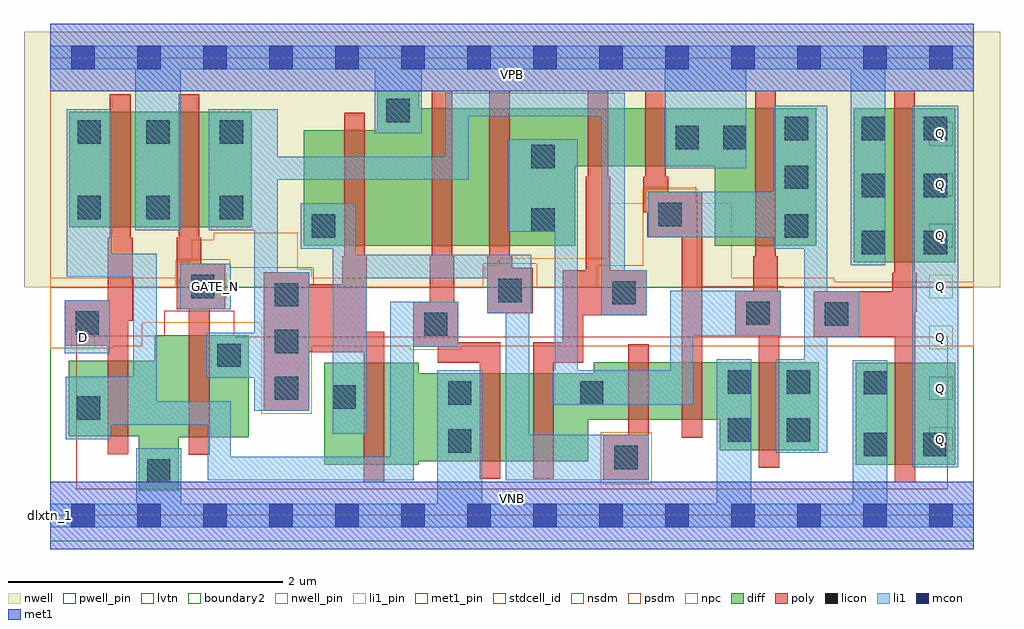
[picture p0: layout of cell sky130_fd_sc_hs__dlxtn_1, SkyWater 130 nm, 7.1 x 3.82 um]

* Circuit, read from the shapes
.subckt sky130_fd_sc_hs__dlxtn_1 D GATE_N Q VGND VNB VPB VPWR
XM1 VGND D n1 VNB sky130_fd_pr__nfet_01v8_lvt w=0.55 l=0.15
XM2 n2 GATE_N VGND VNB sky130_fd_pr__nfet_01v8_lvt w=0.74 l=0.15
XM3 VGND n2 n3 VNB sky130_fd_pr__nfet_01v8_lvt w=0.74 l=0.15
XM4 n4 n1 VGND VNB sky130_fd_pr__nfet_01v8_lvt w=0.64 l=0.15
XM5 n5 n2 n4 VNB sky130_fd_pr__nfet_01v8_lvt w=0.64 l=0.15
XM6 n6 n3 n5 VNB sky130_fd_pr__nfet_01v8_lvt w=0.42 l=0.15
XM7 VGND n7 n6 VNB sky130_fd_pr__nfet_01v8_lvt w=0.42 l=0.15
XM8 n7 n5 VGND VNB sky130_fd_pr__nfet_01v8_lvt w=0.64 l=0.15
XM9 Q n7 VGND VNB sky130_fd_pr__nfet_01v8_lvt w=0.74 l=0.15
XM10 VPWR D n1 VPB sky130_fd_pr__pfet_01v8 w=0.84 l=0.15
XM11 n2 GATE_N VPWR VPB sky130_fd_pr__pfet_01v8 w=0.84 l=0.15
XM12 VPWR n2 n3 VPB sky130_fd_pr__pfet_01v8 w=0.84 l=0.15
XM13 n8 n1 VPWR VPB sky130_fd_pr__pfet_01v8 w=1 l=0.15
XM14 n5 n3 n8 VPB sky130_fd_pr__pfet_01v8 w=1 l=0.15
XM15 n9 n2 n5 VPB sky130_fd_pr__pfet_01v8 w=0.42 l=0.15
XM16 VPWR n7 n9 VPB sky130_fd_pr__pfet_01v8 w=0.42 l=0.15
XM17 n7 n5 VPWR VPB sky130_fd_pr__pfet_01v8 w=1 l=0.15
XM18 Q n7 VPWR VPB sky130_fd_pr__pfet_01v8 w=1.12 l=0.15
.ends

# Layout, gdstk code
import gdstk
lib = gdstk.Library(unit=1e-6, precision=1e-09)
def R(c, l, rs):  # rectangles x0, y0, x1, y1
    for r in rs: c.add(gdstk.rectangle(r[:2], r[2:], *l))
def A(c, l, x, y, w, h, nx, ny, dx, dy):  # array of equal rectangles
    R(c, l, [(x+i*dx, y+j*dy, x+i*dx+w, y+j*dy+h) for i in range(nx) for j in range(ny)])
def P(c, l, *ps):  # polygons
    for p in ps: c.add(gdstk.Polygon(p, *l))
nwell_pin = (64, 16)
nwell = (64, 20)
diff = (65, 20)
poly = (66, 20)
licon = (66, 44)
li1_pin = (67, 16)
li1 = (67, 20)
mcon = (67, 44)
met1_pin = (68, 16)
met1 = (68, 20)
stdcell_id = (81, 4)
nsdm = (93, 44)
psdm = (94, 20)
npc = (95, 20)
pwell_pin = (122, 16)
lvtn = (125, 44)
boundary2 = (236, 0)

sky130_fd_sc_hs__dlxtn_1 = lib.new_cell('sky130_fd_sc_hs__dlxtn_1')
R(sky130_fd_sc_hs__dlxtn_1, nwell_pin, [(0,3.085,6.72,3.33)])
R(sky130_fd_sc_hs__dlxtn_1, nwell, [(-0.19,1.66,6.91,3.52)])
R(sky130_fd_sc_hs__dlxtn_1, diff, [(5.86,0.37,6.585,1.11), (5.845,1.84,6.585,2.96), (0.14,2.095,1.465,2.935)])
P(sky130_fd_sc_hs__dlxtn_1, diff, [(1.445,1.31),(0.76,1.31),(0.76,1.125),(0.135,1.125),(0.135,0.575),(0.645,0.575),(0.645,0.18),(0.935,0.18),(0.935,0.57),(1.445,0.57)],
  [(5.575,2.96),(2.685,2.96),(2.685,3.09),(2.38,3.09),(2.38,2.8),(1.845,2.8),(1.845,1.96),(3.82,1.96),(3.82,2.54),(4.835,2.54),(4.835,1.96),(5.575,1.96)],
  [(5.59,1.115),(3.955,1.115),(3.955,1.035),(2.68,1.035),(2.68,1.11),(1.995,1.11),(1.995,0.37),(2.68,0.37),(2.68,0.395),(3.915,0.395),(3.915,0.695),(4.87,0.695),(4.87,0.475),(5.59,0.475)])
P(sky130_fd_sc_hs__dlxtn_1, poly, [(6.305,1.765),(6.29,1.765),(6.29,3.09),(6.14,3.09),(6.14,1.765),(6.125,1.765),(6.125,1.63),(5.555,1.63),(5.555,1.3),(6.145,1.3),(6.145,0.24),(6.295,0.24),(6.295,1.48),(6.305,1.48)],
  [(5.315,1.635),(5.295,1.635),(5.295,1.885),(5.28,1.885),(5.28,3.09),(5.13,3.09),(5.13,1.885),(5.115,1.885),(5.115,1.635),(4.985,1.635),(4.985,1.305),(5.155,1.305),(5.155,0.345),(5.305,0.345),(5.305,1.305),(5.315,1.305)],
  [(4.745,2.355),(4.495,2.355),(4.495,2.465),(4.48,2.465),(4.48,3.09),(4.33,3.09),(4.33,2.465),(4.315,2.465),(4.315,2.205),(4.345,2.205),(4.345,2.025),(4.595,2.025),(4.595,0.565),(4.745,0.565)],
  [(4.355,1.245),(4.205,1.245),(4.205,0.585),(4.025,0.585),(4.025,0.255),(4.355,0.255)],
  [(4.34,1.785),(4.075,1.785),(4.075,2.465),(4.06,2.465),(4.06,3.09),(3.91,3.09),(3.91,2.465),(3.895,2.465),(3.895,1.785),(3.73,1.785),(3.73,1.26),(3.515,1.26),(3.515,0.265),(3.665,0.265),(3.665,1.11),(3.88,1.11),(3.88,1.455),(4.34,1.455)],
  [(3.51,1.8),(3.36,1.8),(3.36,1.885),(3.345,1.885),(3.345,3.09),(3.195,3.09),(3.195,1.885),(3.18,1.885),(3.18,1.47),(3.51,1.47)],
  [(3.275,1.26),(2.97,1.26),(2.97,1.555),(2.94,1.555),(2.94,1.885),(2.925,1.885),(2.925,3.09),(2.775,3.09),(2.775,1.885),(2.76,1.885),(2.76,1.555),(2.64,1.555),(2.64,1.225),(2.82,1.225),(2.82,1.11),(3.125,1.11),(3.125,0.265),(3.275,0.265)],
  [(2.43,1.335),(2.305,1.335),(2.305,1.885),(2.29,1.885),(2.29,2.93),(2.14,2.93),(2.14,1.885),(2.125,1.885),(2.125,1.68),(1.885,1.68),(1.885,1.77),(1.555,1.77),(1.555,0.76),(1.885,0.76),(1.885,1.185),(2.28,1.185),(2.28,0.24),(2.43,0.24)],
  [(1.275,1.83),(1.1,1.83),(1.1,2.02),(1.085,2.02),(1.085,3.065),(0.935,3.065),(0.935,2.02),(0.92,2.02),(0.92,1.5),(1.01,1.5),(1.01,0.44),(1.16,0.44),(1.16,1.5),(1.275,1.5)],
  [(0.6,2.02),(0.585,2.02),(0.585,3.065),(0.435,3.065),(0.435,2.02),(0.42,2.02),(0.42,1.565),(0.105,1.565),(0.105,1.235),(0.42,1.235),(0.42,0.445),(0.57,0.445),(0.57,1.415),(0.6,1.415)])
A(sky130_fd_sc_hs__dlxtn_1, licon, 1.635, 0.84, 0.17, 0.17, 1, 3, 0, 0.34)
A(sky130_fd_sc_hs__dlxtn_1, licon, 5.905, 1.9, 0.17, 0.17, 1, 3, 0, 0.415)
A(sky130_fd_sc_hs__dlxtn_1, licon, 6.355, 1.9, 0.17, 0.17, 1, 3, 0, 0.415)
A(sky130_fd_sc_hs__dlxtn_1, licon, 5.345, 2.02, 0.17, 0.17, 1, 3, 0, 0.355)
R(sky130_fd_sc_hs__dlxtn_1, licon, [(0.705,0.24,0.875,0.41), (4.105,0.335,4.275,0.505), (5.92,0.43,6.09,0.6), (6.35,0.43,6.52,0.6), (2.895,0.455,3.065,0.625), (4.93,0.535,5.1,0.705), (5.36,0.535,5.53,0.705), (0.195,0.695,0.365,0.865), (2.055,0.775,2.225,0.945), (2.895,0.805,3.065,0.975), (3.855,0.805,4.025,0.975), (5.92,0.88,6.09,1.05), (4.93,0.885,5.1,1.055), (5.36,0.885,5.53,1.055), (1.215,1.08,1.385,1.25), (2.72,1.305,2.89,1.475), (0.185,1.315,0.355,1.485), (5.635,1.38,5.805,1.55), (5.065,1.385,5.235,1.555), (4.09,1.535,4.26,1.705), (3.26,1.55,3.43,1.72), (1.025,1.58,1.195,1.75), (1.905,2.02,2.075,2.19), (3.5,2.065,3.67,2.235), (4.425,2.105,4.595,2.275), (0.2,2.155,0.37,2.325), (0.7,2.155,0.87,2.325), (1.235,2.155,1.405,2.325), (3.5,2.525,3.67,2.695), (4.55,2.665,4.72,2.835), (4.895,2.665,5.065,2.835), (0.2,2.705,0.37,2.875), (0.7,2.705,0.87,2.875), (1.235,2.705,1.405,2.875), (2.445,2.86,2.615,3.03)])
A(sky130_fd_sc_hs__dlxtn_1, li1_pin, 6.395, 0.47, 0.17, 0.17, 1, 7, 0, 0.37)
R(sky130_fd_sc_hs__dlxtn_1, li1_pin, [(0.155,1.21,0.325,1.38), (1.115,1.58,1.285,1.75)])
R(sky130_fd_sc_hs__dlxtn_1, li1, [(6.27,0.35,6.605,2.98), (0.105,1.18,0.435,1.565), (0.945,1.5,1.315,1.83)])
P(sky130_fd_sc_hs__dlxtn_1, li1, [(0,-0.085),(0,0.085),(0.625,0.085),(0.625,0.49),(0.955,0.49),(0.955,0.085),(2.815,0.085),(2.815,1.055),(3.145,1.055),(3.145,0.085),(4.85,0.085),(4.85,1.135),(5.1,1.135),(5.1,0.085),(5.84,0.085),(5.84,1.13),(6.09,1.13),(6.09,0.085),(6.72,0.085),(6.72,-0.085)],
  [(0,3.245),(0,3.415),(6.72,3.415),(6.72,3.245),(6.075,3.245),(6.075,1.82),(5.825,1.82),(5.825,3.245),(5.065,3.245),(5.065,2.525),(4.47,2.525),(4.47,3.245),(2.705,3.245),(2.705,2.78),(2.36,2.78),(2.36,3.245),(0.95,3.245),(0.95,2.075),(0.62,2.075),(0.62,3.245)],
  [(0.605,1.01),(0.605,1.735),(0.12,1.735),(0.12,2.955),(0.45,2.955),(0.45,1.905),(0.775,1.905),(0.775,0.83),(1.315,0.83),(1.315,0.425),(2.475,0.425),(2.475,1.555),(2.97,1.555),(2.97,1.225),(2.645,1.225),(2.645,0.255),(1.145,0.255),(1.145,0.66),(0.445,0.66),(0.445,0.555),(0.115,0.555),(0.115,1.01)],
  [(2.225,1.895),(3.5,1.895),(3.5,1.47),(3.485,1.47),(3.485,0.585),(4.355,0.585),(4.355,0.255),(3.315,0.255),(3.315,1.47),(3.18,1.47),(3.18,1.725),(2.305,1.725),(2.305,0.595),(2.055,0.595),(2.055,1.94),(1.825,1.94),(1.825,2.27),(2.225,2.27)],
  [(4.18,3.075),(4.18,1.785),(4.34,1.785),(4.34,1.455),(4.01,1.455),(4.01,2.905),(3.045,2.905),(3.045,2.44),(1.655,2.44),(1.655,1.77),(1.885,1.77),(1.885,0.76),(1.485,0.76),(1.485,1),(1.135,1),(1.135,1.33),(1.485,1.33),(1.485,2.075),(1.155,2.075),(1.155,2.955),(1.655,2.955),(1.655,2.61),(2.875,2.61),(2.875,3.075)],
  [(4.35,2.025),(4.35,2.355),(5.265,2.355),(5.265,2.98),(5.655,2.98),(5.655,1.63),(5.885,1.63),(5.885,1.3),(5.655,1.3),(5.655,0.455),(5.28,0.455),(5.28,1.135),(5.485,1.135),(5.485,1.94),(5.265,1.94),(5.265,2.025)],
  [(3.67,1.055),(3.67,2.065),(3.33,2.065),(3.33,2.735),(3.84,2.735),(3.84,1.055),(4.51,1.055),(4.51,1.635),(5.315,1.635),(5.315,1.305),(4.68,1.305),(4.68,0.805),(3.655,0.805),(3.655,1.055)])
A(sky130_fd_sc_hs__dlxtn_1, mcon, 0.155, -0.085, 0.17, 0.17, 14, 2, 0.48, 3.33)
R(sky130_fd_sc_hs__dlxtn_1, met1_pin, [(0,0,6.72,0.245), (0,3.085,6.72,3.33)])
R(sky130_fd_sc_hs__dlxtn_1, met1, [(0,-0.245,6.72,0.245), (0,3.085,6.72,3.575)])
R(sky130_fd_sc_hs__dlxtn_1, stdcell_id, [(0,0,6.72,3.33)])
R(sky130_fd_sc_hs__dlxtn_1, nsdm, [(0,-0.19,6.72,1.66)])
P(sky130_fd_sc_hs__dlxtn_1, psdm, [(6.72,3.52),(0,3.52),(0,1.66),(0.915,1.66),(0.915,1.86),(1.305,1.86),(1.305,1.8),(1.915,1.8),(1.915,1.66),(3.15,1.66),(3.15,1.83),(3.54,1.83),(3.54,1.66),(3.98,1.66),(3.98,1.815),(4.315,1.815),(4.315,2.385),(4.705,2.385),(4.705,1.665),(5.345,1.665),(5.345,1.66),(6.72,1.66)])
R(sky130_fd_sc_hs__dlxtn_1, npc, [(4.005,0.225,4.375,0.605)])
P(sky130_fd_sc_hs__dlxtn_1, npc, [(6.72,1.7),(5.705,1.7),(5.705,1.73),(4.96,1.73),(4.96,2.27),(4.695,2.27),(4.695,2.375),(4.325,2.375),(4.325,2.27),(4.06,2.27),(4.06,1.87),(3.265,1.87),(3.265,1.82),(3.16,1.82),(3.16,1.73),(1.905,1.73),(1.905,1.79),(1.8,1.79),(1.8,2.055),(1.19,2.055),(1.19,2.005),(1.03,2.005),(1.03,1.85),(0.925,1.85),(0.925,1.73),(0,1.73),(0,1.215),(0.455,1.215),(0.455,1.23),(0.67,1.23),(0.67,1.4),(1.535,1.4),(1.535,0.74),(1.905,0.74),(1.905,1.23),(2.62,1.23),(2.62,1.205),(2.99,1.205),(2.99,1.23),(6.72,1.23)])
R(sky130_fd_sc_hs__dlxtn_1, pwell_pin, [(0,0,6.72,0.245)])
P(sky130_fd_sc_hs__dlxtn_1, lvtn, [(6.53,1.3),(1.34,1.3),(1.34,1.49),(0.83,1.49),(0.83,1.305),(0.24,1.305),(0.24,1.3),(0.19,1.3),(0.19,0.19),(6.53,0.19)])
R(sky130_fd_sc_hs__dlxtn_1, boundary2, [(0,0,6.72,3.33)])
sky130_fd_sc_hs__dlxtn_1.add(gdstk.Label('dlxtn_1', (0,0), layer=83, texttype=44))
sky130_fd_sc_hs__dlxtn_1.add(gdstk.Label('VNB', (3.36,0.123), layer=64, texttype=59))
sky130_fd_sc_hs__dlxtn_1.add(gdstk.Label('VPB', (3.36,3.208), layer=64, texttype=5))
sky130_fd_sc_hs__dlxtn_1.add(gdstk.Label('VPWR', (3.36,3.208), layer=68, texttype=5))
sky130_fd_sc_hs__dlxtn_1.add(gdstk.Label('VGND', (3.36,0.123), layer=68, texttype=5))
sky130_fd_sc_hs__dlxtn_1.add(gdstk.Label('Q', (6.48,0.555), layer=67, texttype=5))
sky130_fd_sc_hs__dlxtn_1.add(gdstk.Label('Q', (6.48,0.925), layer=67, texttype=5))
sky130_fd_sc_hs__dlxtn_1.add(gdstk.Label('Q', (6.48,1.295), layer=67, texttype=5))
sky130_fd_sc_hs__dlxtn_1.add(gdstk.Label('Q', (6.48,1.665), layer=67, texttype=5))
sky130_fd_sc_hs__dlxtn_1.add(gdstk.Label('Q', (6.48,2.035), layer=67, texttype=5))
sky130_fd_sc_hs__dlxtn_1.add(gdstk.Label('Q', (6.48,2.405), layer=67, texttype=5))
sky130_fd_sc_hs__dlxtn_1.add(gdstk.Label('Q', (6.48,2.775), layer=67, texttype=5))
sky130_fd_sc_hs__dlxtn_1.add(gdstk.Label('GATE_N', (1.2,1.665), layer=67, texttype=5))
sky130_fd_sc_hs__dlxtn_1.add(gdstk.Label('D', (0.24,1.295), layer=67, texttype=5))

lib.write_gds('sky130_fd_sc_hs__dlxtn_1.gds')
